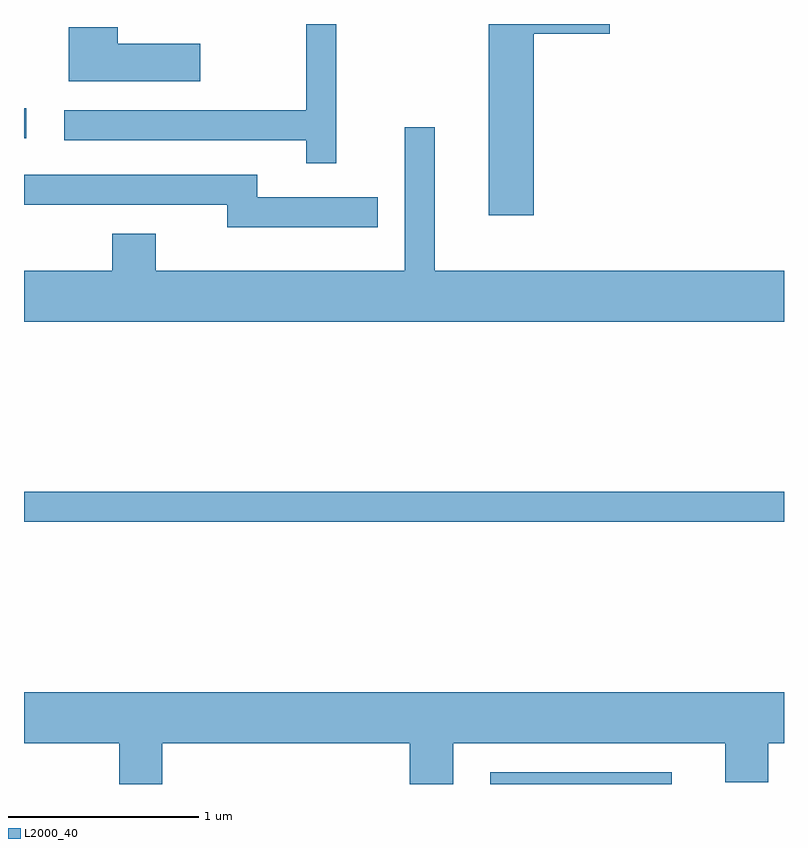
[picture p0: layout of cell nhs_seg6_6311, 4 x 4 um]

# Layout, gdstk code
import gdstk
lib = gdstk.Library(unit=1e-6, precision=1e-09)
def R(c, l, rs):  # rectangles x0, y0, x1, y1
    for r in rs: c.add(gdstk.rectangle(r[:2], r[2:], *l))
def P(c, l, *ps):  # polygons
    for p in ps: c.add(gdstk.Polygon(p, *l))
L2000_40 = (2000, 40)

nhs_seg6_6311 = lib.new_cell('nhs_seg6_6311')
R(nhs_seg6_6311, L2000_40, [(378.066,1654.162,379.019,1654.224), (375.611,1655.541,379.611,1655.699), (375.611,1657.561,375.623,1657.719)])
P(nhs_seg6_6311, L2000_40, [(378.294,1658.111),(378.694,1658.111),(378.694,1658.162),(378.056,1658.162),(378.056,1657.156),(378.294,1657.156)],
  [(377.254,1658.162),(377.096,1658.162),(377.096,1657.709),(375.823,1657.709),(375.823,1657.551),(377.096,1657.551),(377.096,1657.428),(377.254,1657.428)],
  [(376.539,1658.059),(376.104,1658.059),(376.104,1658.144),(375.846,1658.144),(375.846,1657.861),(376.539,1657.861)],
  [(379.611,1656.864),(377.774,1656.864),(377.774,1657.618),(377.616,1657.618),(377.616,1656.864),(376.304,1656.864),(376.304,1657.059),(376.076,1657.059),(376.076,1656.864),(375.611,1656.864),(375.611,1656.596),(379.611,1656.596)],
  [(377.473,1657.249),(376.839,1657.249),(376.839,1657.369),(375.611,1657.369),(375.611,1657.211),(376.681,1657.211),(376.681,1657.091),(377.473,1657.091)],
  [(376.339,1654.376),(377.641,1654.376),(377.641,1654.162),(377.869,1654.162),(377.869,1654.376),(379.301,1654.376),(379.301,1654.171),(379.529,1654.171),(379.529,1654.376),(379.611,1654.376),(379.611,1654.644),(375.611,1654.644),(375.611,1654.376),(376.111,1654.376),(376.111,1654.162),(376.339,1654.162)])

lib.write_gds('nhs_seg6_6311.gds')
